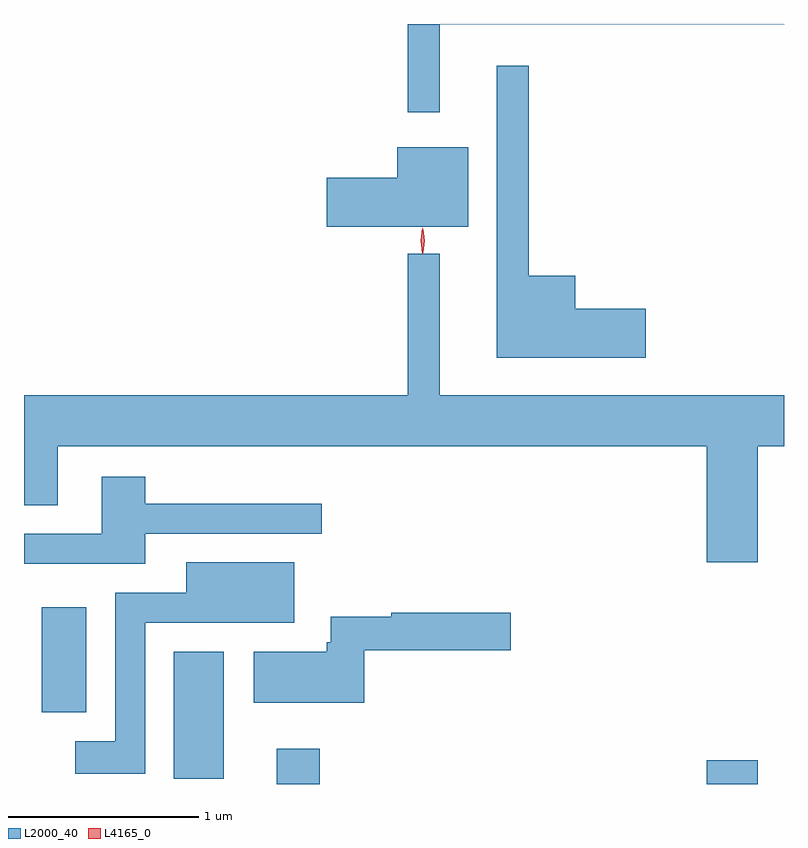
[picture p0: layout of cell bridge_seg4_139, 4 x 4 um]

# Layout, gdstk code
import gdstk
lib = gdstk.Library(unit=1e-6, precision=1e-09)
def R(c, l, rs):  # rectangles x0, y0, x1, y1
    for r in rs: c.add(gdstk.rectangle(r[:2], r[2:], *l))
def P(c, l, *ps):  # polygons
    for p in ps: c.add(gdstk.Polygon(p, *l))
L2000_40 = (2000, 40)
L4165_0 = (4165, 0)

bridge_seg4_139 = lib.new_cell('bridge_seg4_139')
R(bridge_seg4_139, L2000_40, [(892.131,1290.738,892.359,1290.924), (894.396,1290.738,894.664,1290.864), (891.591,1290.766,891.854,1291.434), (890.896,1291.116,891.129,1291.669)])
P(bridge_seg4_139, L2000_40, [(892.989,1294.736),(894.802,1294.736),(894.802,1294.738),(890.802,1294.738),(890.802,1294.736),(892.821,1294.736),(892.821,1294.273),(892.989,1294.273)],
  [(894.074,1293.239),(893.704,1293.239),(893.704,1293.414),(893.459,1293.414),(893.459,1294.518),(893.291,1294.518),(893.291,1292.981),(894.074,1292.981)],
  [(893.139,1294.089),(892.766,1294.089),(892.766,1293.929),(892.396,1293.929),(892.396,1293.671),(893.139,1293.671)],
  [(894.664,1292.516),(894.802,1292.516),(894.802,1292.784),(892.989,1292.784),(892.989,1293.528),(892.821,1293.528),(892.821,1292.784),(890.802,1292.784),(890.802,1292.206),(890.979,1292.206),(890.979,1292.516),(894.396,1292.516),(894.396,1291.906),(894.664,1291.906)],
  [(891.439,1292.056),(892.368,1292.056),(892.368,1292.214),(891.439,1292.214),(891.439,1292.354),(891.211,1292.354),(891.211,1292.054),(890.802,1292.054),(890.802,1291.896),(891.439,1291.896)],
  [(891.439,1291.586),(892.224,1291.586),(892.224,1291.904),(891.656,1291.904),(891.656,1291.744),(891.281,1291.744),(891.281,1290.964),(891.071,1290.964),(891.071,1290.791),(891.439,1290.791)],
  [(892.594,1291.441),(893.364,1291.441),(893.364,1291.639),(892.736,1291.639),(892.736,1291.619),(892.416,1291.619),(892.416,1291.484),(892.396,1291.484),(892.396,1291.434),(892.011,1291.434),(892.011,1291.166),(892.594,1291.166)])
P(bridge_seg4_139, L4165_0, [(892.902,1293.533),(892.902,1293.533),(892.892,1293.596),(892.902,1293.659),(892.902,1293.66),(892.903,1293.659),(892.912,1293.596),(892.903,1293.533)],
  [(892.899,1293.53),(892.889,1293.598),(892.898,1293.666),(892.899,1293.666),(892.899,1293.666),(892.909,1293.598),(892.9,1293.53),(892.9,1293.53)])

lib.write_gds('bridge_seg4_139.gds')
